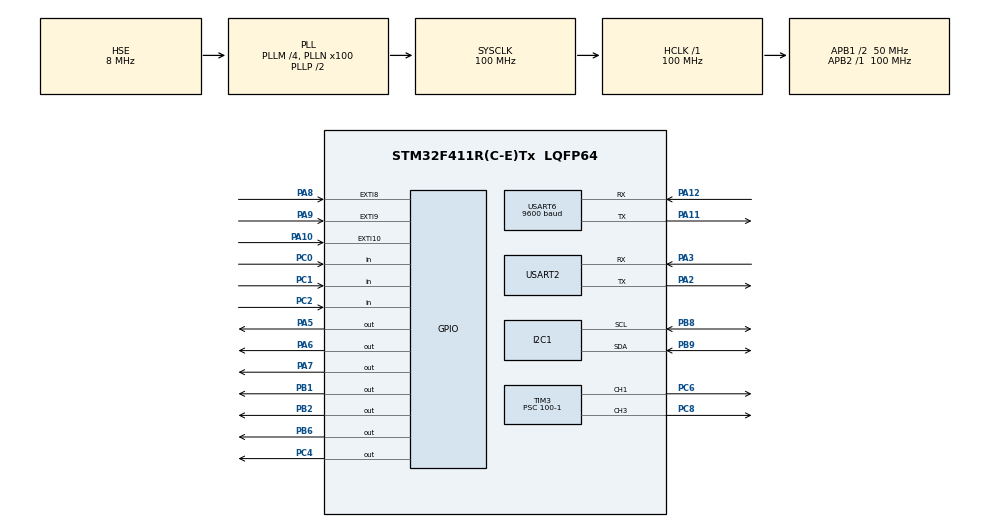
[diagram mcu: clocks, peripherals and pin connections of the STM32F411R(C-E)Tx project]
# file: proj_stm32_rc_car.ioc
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FREERTOS.Mutexes01=lcdMutex,Dynamic,NULL,Available
FREERTOS.Queues01=BtnQueue,16,uint32_t,0,Dynamic,NULL,NULL;CommQueue,16,uint32_t,0,Dynamic,NULL,NULL;BtQueue,16,uint32_t,0,Dynamic,NULL,NULL
FREERTOS.Tasks01=defaultTask,0,128,StartDefaultTask,Default,NULL,Dynamic,NULL,NULL;MotorTask,0,128,StartMotorTask,Default,NULL,Dynamic,NULL,NULL;ButtonTask,0,128,StartButtonTask,Default,NULL,Dynamic,NULL,NULL;CommTask,0,128,StartCommTask,Default,NULL,Dynamic,NULL,NULL;BtTask,0,512,StartBtTask,Default,NULL,Dynamic,NULL,NULL;DistTask,0,128,StartDistTask,Default,NULL,Dynamic,NULL,NULL
FREERTOS.configUSE_NEWLIB_REENTRANT=1
Mcu.Family=STM32F4
Mcu.Name=STM32F411R(C-E)Tx
Mcu.Package=LQFP64
NVIC.EXTI15_10_IRQn=true\:5\:0\:false\:false\:true\:true\:true\:true\:true
NVIC.EXTI9_5_IRQn=true\:5\:0\:false\:false\:true\:true\:true\:true\:true
NVIC.PriorityGroup=NVIC_PRIORITYGROUP_4
NVIC.TIM1_UP_TIM10_IRQn=true\:5\:0\:false\:false\:true\:false\:false\:true\:true
NVIC.TimeBase=TIM1_UP_TIM10_IRQn
NVIC.TimeBaseIP=TIM10
NVIC.USART2_IRQn=true\:5\:0\:false\:false\:true\:true\:true\:true\:true
NVIC.USART6_IRQn=true\:5\:0\:false\:false\:true\:true\:true\:true\:true
PA10.GPIO_ModeDefaultEXTI=GPIO_MODE_IT_RISING_FALLING
PA10.Signal=GPXTI10
PA11.Mode=Asynchronous
PA11.Signal=USART6_TX
PA12.Mode=Asynchronous
PA12.Signal=USART6_RX
PA13.Mode=Serial_Wire
PA13.Signal=SYS_JTMS-SWDIO
PA14.Mode=Serial_Wire
PA14.Signal=SYS_JTCK-SWCLK
PA2.Mode=Asynchronous
PA2.Signal=USART2_TX
PA3.Mode=Asynchronous
PA3.Signal=USART2_RX
PA5.Signal=GPIO_Output
PA6.Signal=GPIO_Output
PA7.Signal=GPIO_Output
PA8.GPIO_ModeDefaultEXTI=GPIO_MODE_IT_RISING_FALLING
PA8.Signal=GPXTI8
PA9.GPIO_ModeDefaultEXTI=GPIO_MODE_IT_RISING_FALLING
PA9.Signal=GPXTI9
PB1.Signal=GPIO_Output
PB2.Signal=GPIO_Output
PB6.Signal=GPIO_Output
PB8.Mode=I2C
PB8.Signal=I2C1_SCL
PB9.Mode=I2C
PB9.Signal=I2C1_SDA
PC0.Signal=GPIO_Input
PC1.Signal=GPIO_Input
PC2.Signal=GPIO_Input
PC4.Signal=GPIO_Output
PC6.Signal=S_TIM3_CH1
PC8.Signal=S_TIM3_CH3
PH0\ -\ OSC_IN.Mode=HSE-External-Oscillator
PH0\ -\ OSC_IN.Signal=RCC_OSC_IN
PH1\ -\ OSC_OUT.Mode=HSE-External-Oscillator
PH1\ -\ OSC_OUT.Signal=RCC_OSC_OUT
ProjectManager.HeapSize=0x200
ProjectManager.StackSize=0x400
ProjectManager.TargetToolchain=STM32CubeIDE
RCC.48MHZClocksFreq_Value=50000000
RCC.AHBFreq_Value=100000000
RCC.APB1CLKDivider=RCC_HCLK_DIV2
RCC.APB1Freq_Value=50000000
RCC.APB1TimFreq_Value=100000000
RCC.APB2Freq_Value=100000000
RCC.APB2TimFreq_Value=100000000
RCC.CortexFreq_Value=100000000
RCC.HCLKFreq_Value=100000000
RCC.HSE_VALUE=8000000
RCC.HSI_VALUE=16000000
RCC.LSE_VALUE=32768
RCC.PLLM=4
RCC.PLLN=100
RCC.PLLSourceVirtual=RCC_PLLSOURCE_HSE
RCC.SYSCLKFreq_VALUE=100000000
RCC.SYSCLKSource=RCC_SYSCLKSOURCE_PLLCLK
RCC.VCOOutputFreq_Value=200000000
SH.S_TIM3_CH1.0=TIM3_CH1,PWM Generation1 CH1
SH.S_TIM3_CH3.0=TIM3_CH3,PWM Generation3 CH3
TIM3.AutoReloadPreload=TIM_AUTORELOAD_PRELOAD_ENABLE
TIM3.Channel-PWM\ Generation1\ CH1=TIM_CHANNEL_1
TIM3.Channel-PWM\ Generation3\ CH3=TIM_CHANNEL_3
TIM3.Period=1000-1
TIM3.Prescaler=100-1
USART2.VirtualMode=VM_ASYNC
USART6.BaudRate=9600
USART6.VirtualMode=VM_ASYNC
VP_FREERTOS_VS_CMSIS_V1.Mode=CMSIS_V1
VP_SYS_VS_tim10.Mode=TIM10
VP_TIM3_VS_ClockSourceINT.Mode=Internal
board=custom

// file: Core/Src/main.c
/* USER CODE BEGIN Header */
/**
  ******************************************************************************
  * @file           : main.c
  * @brief          : Main program body
  ******************************************************************************
  * @attention
  *
  * Copyright (c) 2026 STMicroelectronics.
  * All rights reserved.
  *
  * This software is licensed under terms that can be found in the LICENSE file
  * in the root directory of this software component.
  * If no LICENSE file comes with this software, it is provided AS-IS.
  *
  ******************************************************************************
  */
/* USER CODE END Header */
#include "main.h"
#include "cmsis_os.h"
#include "i2c.h"
#include "tim.h"
#include "usart.h"
#include "gpio.h"

/* USER CODE BEGIN Includes */
#include <stdio.h>

/* USER CODE END Includes */

void SystemClock_Config(void);
void MX_FREERTOS_Init(void);

/* USER CODE BEGIN 0 */
int __io_putchar(int ch)
{
	ITM_SendChar(ch); // 디버그 모드로 ch 보내는 명령어
    return ch;
}

/* USER CODE END 0 */

int main(void)
{

  /* MCU Configuration--------------------------------------------------------*/

  /* Reset of all peripherals, Initializes the Flash interface and the Systick. */
  HAL_Init();

  /* Configure the system clock */
  SystemClock_Config();

  /* Initialize all configured peripherals */
  MX_GPIO_Init();
  MX_TIM3_Init();
  MX_USART2_UART_Init();
  MX_I2C1_Init();
  MX_USART6_UART_Init();

  /* Call init function for freertos objects (in cmsis_os2.c) */
  MX_FREERTOS_Init();

  /* Start scheduler */
  osKernelStart();

  /* We should never get here as control is now taken by the scheduler */

  /* Infinite loop */
  while (1)
  {

  }
}

void SystemClock_Config(void)
{
  RCC_OscInitTypeDef RCC_OscInitStruct = {0};
  RCC_ClkInitTypeDef RCC_ClkInitStruct = {0};

  /** Configure the main internal regulator output voltage
  */
  __HAL_RCC_PWR_CLK_ENABLE();
  __HAL_PWR_VOLTAGESCALING_CONFIG(PWR_REGULATOR_VOLTAGE_SCALE1);

  /** Initializes the RCC Oscillators according to the specified parameters
  * in the RCC_OscInitTypeDef structure.
  */
  RCC_OscInitStruct.OscillatorType = RCC_OSCILLATORTYPE_HSE;
  RCC_OscInitStruct.HSEState = RCC_HSE_ON;
  RCC_OscInitStruct.PLL.PLLState = RCC_PLL_ON;
  RCC_OscInitStruct.PLL.PLLSource = RCC_PLLSOURCE_HSE;
  RCC_OscInitStruct.PLL.PLLM = 4;
  RCC_OscInitStruct.PLL.PLLN = 100;
  RCC_OscInitStruct.PLL.PLLP = RCC_PLLP_DIV2;
  RCC_OscInitStruct.PLL.PLLQ = 4;
  if (HAL_RCC_OscConfig(&RCC_OscInitStruct) != HAL_OK)
  {
    Error_Handler();
  }

  /** Initializes the CPU, AHB and APB buses clocks
  */
  RCC_ClkInitStruct.ClockType = RCC_CLOCKTYPE_HCLK|RCC_CLOCKTYPE_SYSCLK
                              |RCC_CLOCKTYPE_PCLK1|RCC_CLOCKTYPE_PCLK2;
  RCC_ClkInitStruct.SYSCLKSource = RCC_SYSCLKSOURCE_PLLCLK;
  RCC_ClkInitStruct.AHBCLKDivider = RCC_SYSCLK_DIV1;
  RCC_ClkInitStruct.APB1CLKDivider = RCC_HCLK_DIV2;
  RCC_ClkInitStruct.APB2CLKDivider = RCC_HCLK_DIV1;

  if (HAL_RCC_ClockConfig(&RCC_ClkInitStruct, FLASH_LATENCY_3) != HAL_OK)
  {
    Error_Handler();
  }
}

void HAL_TIM_PeriodElapsedCallback(TIM_HandleTypeDef *htim)
{
  if (htim->Instance == TIM10)
  {
    HAL_IncTick();
  }
}

void Error_Handler(void)
{
  __disable_irq();
  while (1)
  {
  }
}

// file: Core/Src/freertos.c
/* USER CODE BEGIN Header */
/**
 ******************************************************************************
 * File Name          : freertos.c
 * Description        : Code for freertos applications
 ******************************************************************************
 * @attention
 *
 * Copyright (c) 2026 STMicroelectronics.
 * All rights reserved.
 *
 * This software is licensed under terms that can be found in the LICENSE file
 * in the root directory of this software component.
 * If no LICENSE file comes with this software, it is provided AS-IS.
 *
 ******************************************************************************
 */
/* USER CODE END Header */

#include "FreeRTOS.h"
#include "task.h"
#include "main.h"
#include "cmsis_os.h"

/* USER CODE BEGIN Includes */
#include "ap/task/button/button_task.h"
#include "ap/task/motor_control/motor_control_task.h"
#include "ap/task/comm/comm_task.h"
#include "ap/task/bluetooth/bt_task.h"
#include "ap/task/distance/dist_task.h"

#include "i2c.h"
#include "driver/lcd/lcd.h"
#include <stdio.h>

/* USER CODE END Includes */

osThreadId defaultTaskHandle;
osThreadId MotorTaskHandle;
osThreadId ButtonTaskHandle;
osThreadId CommTaskHandle;
osThreadId BtTaskHandle;
osThreadId DistTaskHandle;
osMessageQId BtnQueueHandle;
osMessageQId CommQueueHandle;
osMessageQId BtQueueHandle;
osMutexId lcdMutexHandle;

void StartDefaultTask(void const *argument);
void StartMotorTask(void const *argument);
void StartButtonTask(void const *argument);
void StartCommTask(void const *argument);
void StartBtTask(void const *argument);
void StartDistTask(void const *argument);

void MX_FREERTOS_Init(void); /* (MISRA C 2004 rule 8.1) */

/* GetIdleTaskMemory prototype (linked to static allocation support) */
void vApplicationGetIdleTaskMemory(StaticTask_t **ppxIdleTaskTCBBuffer,
		StackType_t **ppxIdleTaskStackBuffer, uint32_t *pulIdleTaskStackSize);

/* USER CODE BEGIN GET_IDLE_TASK_MEMORY */
static StaticTask_t xIdleTaskTCBBuffer;
static StackType_t xIdleStack[configMINIMAL_STACK_SIZE];

void vApplicationGetIdleTaskMemory(StaticTask_t **ppxIdleTaskTCBBuffer,
		StackType_t **ppxIdleTaskStackBuffer, uint32_t *pulIdleTaskStackSize) {
	*ppxIdleTaskTCBBuffer = &xIdleTaskTCBBuffer;
	*ppxIdleTaskStackBuffer = &xIdleStack[0];
	*pulIdleTaskStackSize = configMINIMAL_STACK_SIZE;
	/* place for user code */
}
/* USER CODE END GET_IDLE_TASK_MEMORY */

void MX_FREERTOS_Init(void) {
	/* Create the mutex(es) */
	/* definition and creation of lcdMutex */
	osMutexDef(lcdMutex);
	lcdMutexHandle = osMutexCreate(osMutex(lcdMutex));

	/* Create the queue(s) */
	/* definition and creation of BtnQueue */
	osMessageQDef(BtnQueue, 16, uint32_t);
	BtnQueueHandle = osMessageCreate(osMessageQ(BtnQueue), NULL);

	/* definition and creation of CommQueue */
	osMessageQDef(CommQueue, 16, uint32_t);
	CommQueueHandle = osMessageCreate(osMessageQ(CommQueue), NULL);

	/* definition and creation of BtQueue */
	osMessageQDef(BtQueue, 16, uint32_t);
	BtQueueHandle = osMessageCreate(osMessageQ(BtQueue), NULL);

	/* Create the thread(s) */
	/* definition and creation of defaultTask */
	osThreadDef(defaultTask, StartDefaultTask, osPriorityNormal, 0, 128);
	defaultTaskHandle = osThreadCreate(osThread(defaultTask), NULL);

	/* definition and creation of MotorTask */
	osThreadDef(MotorTask, StartMotorTask, osPriorityNormal, 0, 128);
	MotorTaskHandle = osThreadCreate(osThread(MotorTask), NULL);

	/* definition and creation of ButtonTask */
	osThreadDef(ButtonTask, StartButtonTask, osPriorityNormal, 0, 128);
	ButtonTaskHandle = osThreadCreate(osThread(ButtonTask), NULL);

	/* definition and creation of CommTask */
	osThreadDef(CommTask, StartCommTask, osPriorityNormal, 0, 128);
	CommTaskHandle = osThreadCreate(osThread(CommTask), NULL);

	/* definition and creation of BtTask */
	osThreadDef(BtTask, StartBtTask, osPriorityNormal, 0, 512);
	BtTaskHandle = osThreadCreate(osThread(BtTask), NULL);

	/* definition and creation of DistTask */
	osThreadDef(DistTask, StartDistTask, osPriorityNormal, 0, 128);
	DistTaskHandle = osThreadCreate(osThread(DistTask), NULL);

}

/* USER CODE BEGIN Header_StartDefaultTask */
/**
 * @brief  Function implementing the defaultTask thread.
 * @param  argument: Not used
 * @retval None
 */
uint32_t front = 0, left = 0, right = 0;

/* USER CODE END Header_StartDefaultTask */
void StartDefaultTask(void const *argument) {
	/* USER CODE BEGIN StartDefaultTask */
	if (osMutexWait(lcdMutexHandle, osWaitForever) == osOK) {
		// 키 가져오기 성공
		Lcd_init(&hi2c1);
		osMutexRelease(lcdMutexHandle); // 다썼으니 키 돌려주기
	}
	/* Infinite loop */
	for (;;) {
		osDelay(1);
	}
	/* USER CODE END StartDefaultTask */
}

void StartMotorTask(void const *argument) {
	/* USER CODE BEGIN StartMotorTask */
	motor_control_task_init();
	/* Infinite loop */
	for (;;) {
		motor_control_task();
		osDelay(1);
	}
	/* USER CODE END StartMotorTask */
}

void StartButtonTask(void const *argument) {
	/* USER CODE BEGIN StartButtonTask */
	button_task_init();
	/* Infinite loop */
	for (;;) {
		button_task();
		osDelay(1);
	}
	/* USER CODE END StartButtonTask */
}

void StartCommTask(void const *argument) {
	/* USER CODE BEGIN StartCommTask */
	comm_task_init();
	/* Infinite loop */
	for (;;) {
		comm_task();
		osDelay(1);
	}
	/* USER CODE END StartCommTask */
}

void StartBtTask(void const *argument) {
	/* USER CODE BEGIN StartBtTask */
	bt_task_init();
	/* Infinite loop */
	for (;;) {
		bt_task();
		osDelay(1);
	}
	/* USER CODE END StartBtTask */
}

void StartDistTask(void const *argument) {
	/* USER CODE BEGIN StartDistTask */
	dist_task_init();
	/* Infinite loop */
	for (;;) {
		dist_task(&front, &left, &right);
		osDelay(1);
	}
	/* USER CODE END StartDistTask */
}
